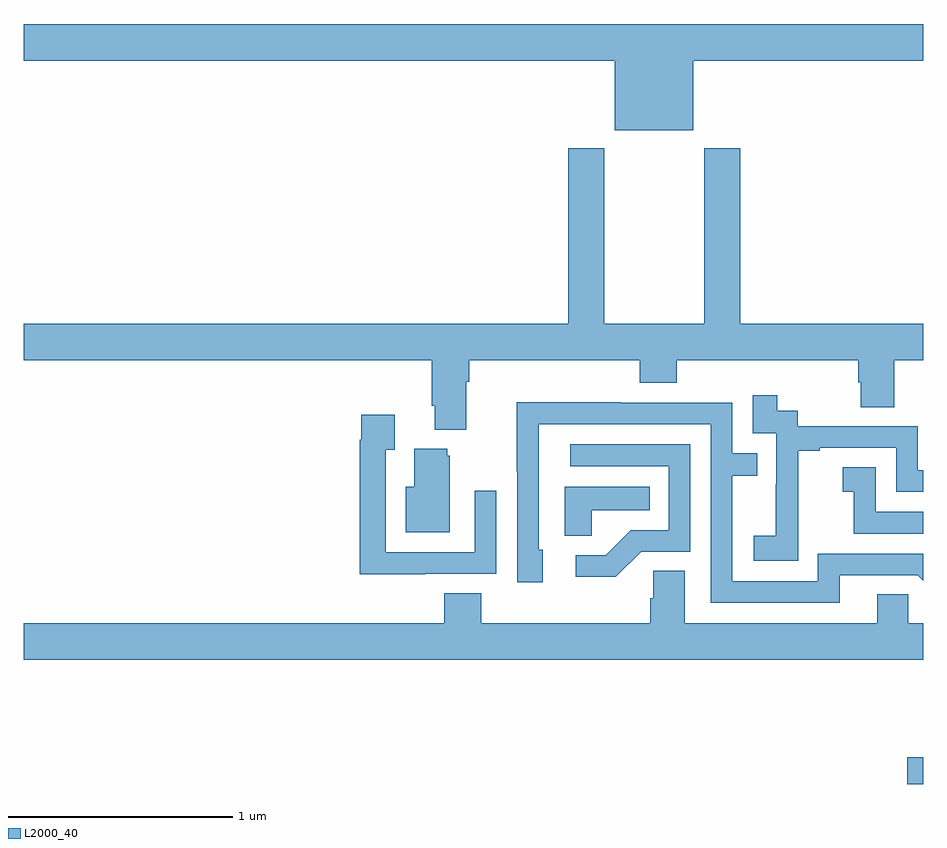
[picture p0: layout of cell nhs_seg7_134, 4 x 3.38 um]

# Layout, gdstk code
import gdstk
lib = gdstk.Library(unit=1e-6, precision=1e-09)
def R(c, l, rs):  # rectangles x0, y0, x1, y1
    for r in rs: c.add(gdstk.rectangle(r[:2], r[2:], *l))
def P(c, l, *ps):  # polygons
    for p in ps: c.add(gdstk.Polygon(p, *l))
L2000_40 = (2000, 40)

nhs_seg7_134 = lib.new_cell('nhs_seg7_134')
R(nhs_seg7_134, L2000_40, [(122.93,1064,123,1064.119)])
P(nhs_seg7_134, L2000_40, [(121.978,1067.216),(123,1067.216),(123,1067.38),(119,1067.38),(119,1067.216),(121.628,1067.216),(121.628,1066.907),(121.978,1066.907)],
  [(119,1065.884),(120.815,1065.884),(120.815,1065.682),(120.827,1065.682),(120.827,1065.575),(120.967,1065.575),(120.967,1065.788),(120.98,1065.788),(120.98,1065.884),(121.739,1065.884),(121.739,1065.785),(121.904,1065.785),(121.904,1065.884),(122.711,1065.884),(122.711,1065.786),(122.723,1065.786),(122.723,1065.676),(122.871,1065.676),(122.871,1065.884),(123,1065.884),(123,1066.048),(122.186,1066.048),(122.186,1066.828),(122.026,1066.828),(122.026,1066.048),(121.581,1066.048),(121.581,1066.828),(121.421,1066.828),(121.421,1066.048),(119,1066.048)],
  [(122.445,1065.199),(122.444,1065.199),(122.444,1065.483),(122.539,1065.483),(122.539,1065.495),(122.88,1065.495),(122.88,1065.3),(123,1065.3),(123,1065.396),(122.976,1065.396),(122.976,1065.591),(122.442,1065.591),(122.442,1065.66),(122.35,1065.66),(122.35,1065.73),(122.241,1065.73),(122.241,1065.561),(122.346,1065.561),(122.346,1065.332),(122.345,1065.332),(122.345,1065.103),(122.247,1065.103),(122.247,1064.993),(122.445,1064.993)],
  [(122.629,1064.928),(122.976,1064.928),(123,1064.904),(123,1065.024),(122.532,1065.024),(122.532,1064.901),(122.151,1064.901),(122.151,1065.37),(122.261,1065.37),(122.261,1065.471),(122.151,1065.471),(122.151,1065.696),(121.655,1065.696),(121.655,1065.698),(121.192,1065.698),(121.192,1065.391),(121.194,1065.391),(121.194,1064.898),(121.309,1064.898),(121.309,1065.042),(121.29,1065.042),(121.29,1065.6),(122.055,1065.6),(122.055,1064.805),(122.629,1064.805)],
  [(120.785,1064.934),(121.101,1064.934),(121.101,1065.304),(121.005,1065.304),(121.005,1065.03),(120.609,1065.03),(120.609,1065.487),(120.649,1065.487),(120.649,1065.643),(120.501,1065.643),(120.501,1065.53),(120.493,1065.53),(120.493,1064.933),(120.785,1064.933)],
  [(121.746,1065.033),(121.965,1065.033),(121.965,1065.51),(121.431,1065.51),(121.431,1065.414),(121.869,1065.414),(121.869,1065.129),(121.7,1065.129),(121.589,1065.018),(121.455,1065.018),(121.455,1064.921),(121.633,1064.921)],
  [(120.895,1065.459),(120.884,1065.459),(120.884,1065.49),(120.737,1065.49),(120.737,1065.322),(120.698,1065.322),(120.698,1065.119),(120.895,1065.119)],
  [(123,1065.21),(122.79,1065.21),(122.79,1065.409),(122.643,1065.409),(122.643,1065.299),(122.692,1065.299),(122.692,1065.114),(123,1065.114)],
  [(121.527,1065.218),(121.784,1065.218),(121.784,1065.322),(121.406,1065.322),(121.406,1065.103),(121.527,1065.103)],
  [(123,1064.716),(122.934,1064.716),(122.934,1064.843),(122.795,1064.843),(122.795,1064.716),(121.939,1064.716),(121.939,1064.948),(121.8,1064.948),(121.8,1064.825),(121.787,1064.825),(121.787,1064.716),(121.034,1064.716),(121.034,1064.849),(120.869,1064.849),(120.869,1064.716),(119,1064.716),(119,1064.552),(123,1064.552)])

lib.write_gds('nhs_seg7_134.gds')
